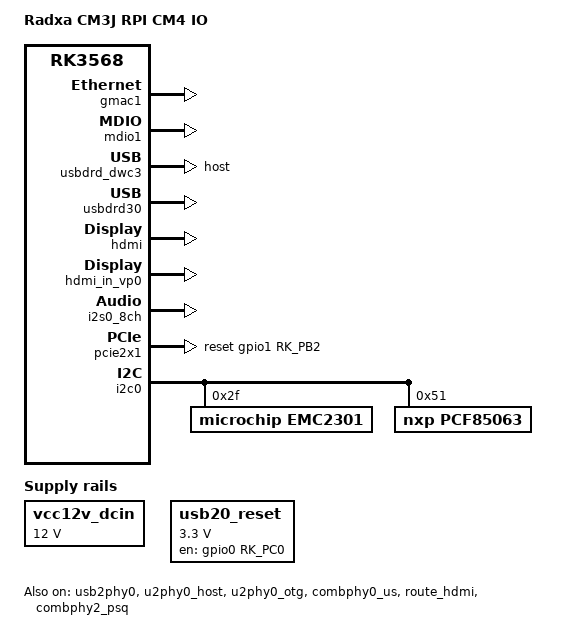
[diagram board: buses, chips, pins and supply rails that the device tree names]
// SPDX-License-Identifier: (GPL-2.0+ OR MIT)
/*
 * Copyright (c) 2024 Radxa Limited.
 *
 */

/dts-v1/;

#include <dt-bindings/display/rockchip_vop.h>
#include "rk3568-radxa-cm3j.dtsi"

/ {
	model = "Radxa CM3J RPI CM4 IO";
	compatible = "radxa,cm3j-rpi-cm4-io", "radxa,cm3j", "rockchip,rk3568";

	vcc12v_dcin: vcc12v-dcin {
		compatible = "regulator-fixed";
		regulator-name = "vcc12v_dcin";
		regulator-always-on;
		regulator-min-microvolt = <12000000>;
		regulator-max-microvolt = <12000000>;
	};

	usb20_reset: usb20-reset-regulator {
		compatible = "regulator-fixed";
		enable-active-high;
		gpio = <&gpio0 RK_PC0 GPIO_ACTIVE_HIGH>;
		pinctrl-names = "default";
		pinctrl-0 = <&usb20_reset_pin>;
		regulator-name = "usb20_reset";
		regulator-always-on;
		regulator-min-microvolt = <3300000>;
		regulator-max-microvolt = <3300000>;
	};

	hdmi_sound: hdmi-sound {
		compatible = "simple-audio-card";
		simple-audio-card,format = "i2s";
		simple-audio-card,mclk-fs = <128>;
		simple-audio-card,name = "rockchip-hdmi0";
		status = "okay";

		simple-audio-card,cpu {
			sound-dai = <&i2s0_8ch>;
		};
		simple-audio-card,codec {
			sound-dai = <&hdmi>;
		};
	};
};

&vcc5v0_sys {
	vin-supply = <&vcc12v_dcin>;
};

&gmac1 {
	status = "okay";
};

&mdio1 {
	status = "okay";
};

&usb2phy0 {
	status = "okay";
};

&u2phy0_host {
	status = "okay";
};

&u2phy0_otg {
	status = "okay";
};

&usbdrd_dwc3 {
	dr_mode = "host";
	extcon = <&usb2phy0>;
	status = "okay";
};

&usbdrd30 {
	status = "okay";
};

&combphy0_us {
	status = "okay";
};

&hdmi {
	status = "okay";
	pinctrl-0 = <&hdmitx_scl &hdmitx_sda &hdmitxm0_cec>;
};

&hdmi_in_vp0 {
	status = "okay";
};

&route_hdmi {
	status = "okay";
	connect = <&vp0_out_hdmi>;
};

&vp0 {
	rockchip,plane-mask = <(1 << ROCKCHIP_VOP2_CLUSTER0 | 1 << ROCKCHIP_VOP2_ESMART0 |
				1 << ROCKCHIP_VOP2_SMART0)>;
	rockchip,primary-plane = <ROCKCHIP_VOP2_CLUSTER0>;
	cursor-win-id = <ROCKCHIP_VOP2_ESMART0>;
};

&i2s0_8ch {
	status = "okay";
};

&combphy2_psq {
	status = "okay";
};

&pcie2x1 {
	reset-gpios = <&gpio1 RK_PB2 GPIO_ACTIVE_HIGH>;
	pinctrl-0 = <&pcie20m1_pins>;
	status = "okay";
};

&soc_thermal {
	sustainable-power = <5000>; /* milliwatts */
	cooling-maps {
		map2 {
			trip = <&target>;
			cooling-device =
				<&emc2301 THERMAL_NO_LIMIT THERMAL_NO_LIMIT>;
			contribution = <8192>;
		};
		map3 {
			trip = <&threshold>;
			cooling-device =
				<&emc2301 THERMAL_NO_LIMIT THERMAL_NO_LIMIT>;
			contribution = <8192>;
		};
	};
};

&threshold {
	temperature = <60000>;
};

&i2c0 {
	emc2301: emc2301@2f {
		status = "okay";
		compatible = "microchip,emc2301";
		reg = <0x2f>;
		#cooling-cells = <2>;
		emc2305,pwm-min = /bits/ 8 <0>;
		emc2305,pwm-max = /bits/ 8 <255>;
		emc2305,pwm-channel = /bits/ 8 <0>;
		emc2305,cooling-levels = /bits/ 8 <10>;
	};

	pcf85063: pcf85063@51 {
		compatible = "nxp,pcf85063";
		status = "okay";
		reg = <0x51>;
		quartz-load-femtofarads = <12500>;
	};
};

&pinctrl {
	usb {
		usb20_reset_pin: usb20-reset {
			rockchip,pins = <0 RK_PC0 RK_FUNC_GPIO &pcfg_pull_up>;
		};
	};
};

&gpio0 {
	gpio-line-names =
		/* GPIO0_A0-A3 */
		"", "", "", "",
		/* GPIO0_A4-A7 */
		"", "", "", "",

		/* GPIO0_B0-B3 */
		"", "", "", "",
		/* GPIO0_B4-B7 */
		"", "", "", "",

		/* GPIO0_C0-C3 */
		"", "", "", "",
		/* GPIO0_C4-C7 */
		"", "", "", "",

		/* GPIO0_D0-D3 */
		"PIN_10", "PIN_8", "", "",
		/* GPIO0_D4-D7 */
		"", "", "", "";
};

&gpio1 {
	gpio-line-names =
		/* GPIO1_A0-A3 */
		"", "", "", "",
		/* GPIO1_A4-A7 */
		"", "", "", "",

		/* GPIO1_B0-B3 */
		"", "", "", "",
		/* GPIO1_B4-B7 */
		"", "", "", "",

		/* GPIO1_C0-C3 */
		"", "", "", "",
		/* GPIO1_C4-C7 */
		"", "", "", "",

		/* GPIO1_D0-D3 */
		"", "", "", "",
		/* GPIO1_D4-D7 */
		"", "", "", "";
};

&gpio2 {
	gpio-line-names =
		/* GPIO2_A0-A3 */
		"", "", "", "",
		/* GPIO2_A4-A7 */
		"", "", "", "",

		/* GPIO2_B0-B3 */
		"", "", "", "",
		/* GPIO2_B4-B7 */
		"", "", "", "",

		/* GPIO2_C0-C3 */
		"", "", "", "",
		/* GPIO2_C4-C7 */
		"", "", "", "",

		/* GPIO2_D0-D3 */
		"PIN_21", "PIN_19", "PIN_24", "PIN_23",
		/* GPIO2_D4-D7 */
		"", "PIN_33", "PIN_7", "PIN_31";
};

&gpio3 {
	gpio-line-names =
		/* GPIO3_A0-A3 */
		"PIN_29", "PIN_18", "PIN_22", "PIN_12",
		/* GPIO3_A4-A7 */
		"PIN_35", "PIN_40", "PIN_38", "",

		/* GPIO3_B0-B3 */
		"", "PIN_13", "PIN_11", "PIN_28",
		/* GPIO3_B4-B7 */
		"PIN_27", "PIN_5", "PIN_3", "PIN_32",

		/* GPIO3_C0-C3 */
		"PIN_15", "PIN_16", "PIN_26", "PIN_36",
		/* GPIO3_C4-C7 */
		"", "PIN_37", "", "",

		/* GPIO3_D0-D3 */
		"", "", "", "",
		/* GPIO3_D4-D7 */
		"", "", "", "";
};

&gpio4 {
	gpio-line-names =
		/* GPIO4_A0-A3 */
		"", "", "", "",
		/* GPIO4_A4-A7 */
		"", "", "", "",

		/* GPIO4_B0-B3 */
		"", "", "", "",
		/* GPIO4_B4-B7 */
		"", "", "", "",

		/* GPIO4_C0-C3 */
		"", "", "", "",
		/* GPIO4_C4-C7 */
		"", "", "", "",

		/* GPIO4_D0-D3 */
		"", "", "", "",
		/* GPIO4_D4-D7 */
		"", "", "", "";
};

&gpio_leds {
	led-pwr {
		function = LED_FUNCTION_POWER;
		default-state = "on";
		color = <LED_COLOR_ID_RED>;
		gpios = <&gpio3 RK_PC4 GPIO_ACTIVE_LOW>;
	};

	led-heartbeat {
		function = LED_FUNCTION_HEARTBEAT;
		default-state = "off";
		color = <LED_COLOR_ID_GREEN>;
		gpios = <&gpio4 RK_PC6 GPIO_ACTIVE_LOW>;
	};
};
